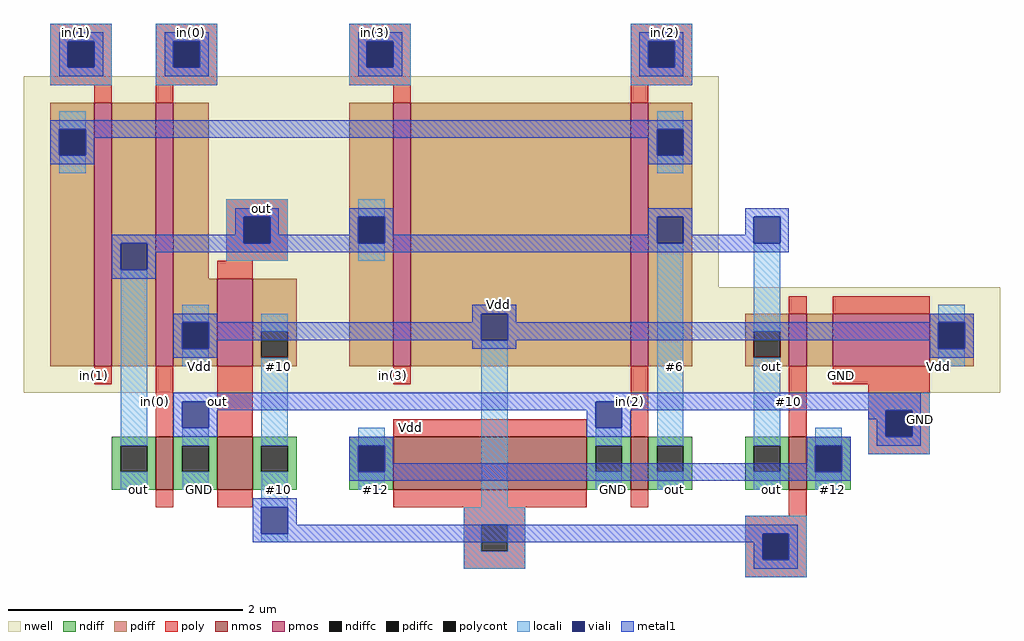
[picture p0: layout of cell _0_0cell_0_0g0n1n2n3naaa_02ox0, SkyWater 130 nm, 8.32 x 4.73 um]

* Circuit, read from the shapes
.subckt _0_0cell_0_0g0n1n2n3naaa_02ox0 GND Vdd in(3) in(2) in(1) out in(0)
XM1 GND in(0) out VSUBS sky130_fd_pr__nfet_01v8 w=0.45 l=0.15
XM2 #10 out GND VSUBS sky130_fd_pr__nfet_01v8 w=0.45 l=0.3
XM3 GND Vdd #12 VSUBS sky130_fd_pr__nfet_01v8 w=0.45 l=1.65
XM4 out in(2) GND VSUBS sky130_fd_pr__nfet_01v8 w=0.45 l=0.15
XM5 #12 #10 out VSUBS sky130_fd_pr__nfet_01v8 w=0.45 l=0.15
XM6 n1 in(1) #6 n2 sky130_fd_pr__pfet_01v8 w=2.25 l=0.15
XM7 Vdd in(0) n1 n2 sky130_fd_pr__pfet_01v8 w=2.25 l=0.15
XM8 #10 out Vdd n2 sky130_fd_pr__pfet_01v8 w=0.75 l=0.3
XM9 n3 in(3) out n2 sky130_fd_pr__pfet_01v8 w=2.25 l=0.15
XM10 #6 in(2) n3 n2 sky130_fd_pr__pfet_01v8 w=2.25 l=0.15
XM11 n4 #10 out n2 sky130_fd_pr__pfet_01v8 w=0.45 l=0.15
XM12 Vdd GND n4 n2 sky130_fd_pr__pfet_01v8 w=0.45 l=0.825
.ends

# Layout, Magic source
magic
tech sky130A
magscale 1 2
<< nwell >>
rect 75 435 1260 795
rect 75 255 1740 435
<< nmos >>
rect 300 90 330 180
rect 405 90 465 180
rect 705 90 1035 180
rect 1110 90 1140 180
rect 1380 90 1410 180
<< pmos >>
rect 195 300 225 750
rect 300 300 330 750
rect 405 300 465 450
rect 705 300 735 750
rect 1110 300 1140 750
rect 1380 300 1410 390
rect 1455 300 1620 390
<< ndiff >>
rect 225 165 300 180
rect 225 120 240 165
rect 285 120 300 165
rect 225 90 300 120
rect 330 165 405 180
rect 330 120 345 165
rect 390 120 405 165
rect 330 90 405 120
rect 465 165 540 180
rect 465 120 480 165
rect 525 120 540 165
rect 465 90 540 120
rect 630 165 705 180
rect 630 120 645 165
rect 690 120 705 165
rect 630 90 705 120
rect 1035 165 1110 180
rect 1035 120 1050 165
rect 1095 120 1110 165
rect 1035 90 1110 120
rect 1140 165 1215 180
rect 1140 120 1155 165
rect 1200 120 1215 165
rect 1140 90 1215 120
rect 1305 165 1380 180
rect 1305 120 1320 165
rect 1365 120 1380 165
rect 1305 90 1380 120
rect 1410 165 1485 180
rect 1410 120 1425 165
rect 1470 120 1485 165
rect 1410 90 1485 120
<< pdiff >>
rect 120 705 195 750
rect 120 660 135 705
rect 180 660 195 705
rect 120 300 195 660
rect 225 300 300 750
rect 330 450 390 750
rect 630 555 705 750
rect 630 510 645 555
rect 690 510 705 555
rect 330 375 405 450
rect 330 330 345 375
rect 390 330 405 375
rect 330 300 405 330
rect 465 360 540 450
rect 465 315 480 360
rect 525 315 540 360
rect 465 300 540 315
rect 630 300 705 510
rect 735 300 1110 750
rect 1140 705 1215 750
rect 1140 660 1155 705
rect 1200 660 1215 705
rect 1140 300 1215 660
rect 1305 360 1380 390
rect 1305 315 1320 360
rect 1365 315 1380 360
rect 1305 300 1380 315
rect 1410 300 1455 390
rect 1620 375 1695 390
rect 1620 330 1635 375
rect 1680 330 1695 375
rect 1620 300 1695 330
<< ndiffc >>
rect 240 120 285 165
rect 345 120 390 165
rect 480 120 525 165
rect 645 120 690 165
rect 1050 120 1095 165
rect 1155 120 1200 165
rect 1320 120 1365 165
rect 1425 120 1470 165
<< pdiffc >>
rect 135 660 180 705
rect 645 510 690 555
rect 345 330 390 375
rect 480 315 525 360
rect 1155 660 1200 705
rect 1320 315 1365 360
rect 1635 330 1680 375
<< poly >>
rect 120 855 225 885
rect 120 810 150 855
rect 195 810 225 855
rect 120 780 225 810
rect 195 750 225 780
rect 300 855 405 885
rect 300 810 330 855
rect 375 810 405 855
rect 300 780 405 810
rect 630 855 735 885
rect 630 810 660 855
rect 705 810 735 855
rect 630 780 735 810
rect 300 750 330 780
rect 705 750 735 780
rect 1110 855 1215 885
rect 1110 810 1140 855
rect 1185 810 1215 855
rect 1110 780 1215 810
rect 1110 750 1140 780
rect 420 555 525 585
rect 420 510 450 555
rect 495 510 525 555
rect 420 480 525 510
rect 405 450 465 480
rect 1380 390 1410 420
rect 1455 390 1620 420
rect 195 270 225 300
rect 300 180 330 300
rect 405 180 465 300
rect 705 270 735 300
rect 705 180 1035 210
rect 1110 180 1140 300
rect 1380 180 1410 300
rect 1455 270 1620 300
rect 1515 225 1620 270
rect 1515 180 1545 225
rect 1590 180 1620 225
rect 1515 150 1620 180
rect 300 60 330 90
rect 405 60 465 90
rect 705 60 1035 90
rect 1110 60 1140 90
rect 825 30 930 60
rect 1380 45 1410 90
rect 825 -15 855 30
rect 900 -15 930 30
rect 825 -45 930 -15
rect 1305 15 1410 45
rect 1305 -30 1335 15
rect 1380 -30 1410 15
rect 1305 -60 1410 -30
<< polycont >>
rect 150 810 195 855
rect 330 810 375 855
rect 660 810 705 855
rect 1140 810 1185 855
rect 450 510 495 555
rect 1545 180 1590 225
rect 855 -15 900 30
rect 1335 -30 1380 15
<< locali >>
rect 120 855 225 885
rect 120 810 150 855
rect 195 810 225 855
rect 120 780 225 810
rect 300 855 405 885
rect 300 810 330 855
rect 375 810 405 855
rect 300 780 405 810
rect 630 855 735 885
rect 630 810 660 855
rect 705 810 735 855
rect 630 780 735 810
rect 1110 855 1215 885
rect 1110 810 1140 855
rect 1185 810 1215 855
rect 1110 780 1215 810
rect 135 705 180 735
rect 135 630 180 660
rect 1155 705 1200 735
rect 1155 630 1200 660
rect 420 555 525 585
rect 420 510 450 555
rect 495 510 525 555
rect 420 480 525 510
rect 645 555 690 585
rect 645 480 690 510
rect 240 165 285 465
rect 345 375 390 405
rect 345 300 390 330
rect 480 360 525 390
rect 240 90 285 120
rect 345 165 390 195
rect 345 90 390 120
rect 480 165 525 315
rect 480 60 525 120
rect 645 165 690 195
rect 645 90 690 120
rect 855 60 900 345
rect 1050 165 1095 195
rect 1050 90 1095 120
rect 1155 165 1200 510
rect 1155 90 1200 120
rect 1320 360 1365 510
rect 1320 165 1365 315
rect 1635 375 1680 405
rect 1635 300 1680 330
rect 1515 225 1620 255
rect 1320 90 1365 120
rect 1425 165 1470 195
rect 1515 180 1545 225
rect 1590 180 1620 225
rect 1515 150 1620 180
rect 1425 90 1470 120
rect 480 0 525 15
rect 825 30 930 60
rect 825 -15 855 30
rect 900 -15 930 30
rect 825 -45 930 -15
rect 1305 15 1410 45
rect 1305 -30 1335 15
rect 1380 -30 1410 15
rect 1305 -60 1410 -30
<< viali >>
rect 150 810 195 855
rect 330 810 375 855
rect 660 810 705 855
rect 1140 810 1185 855
rect 135 660 180 705
rect 1155 660 1200 705
rect 450 510 495 555
rect 240 465 285 510
rect 645 510 690 555
rect 1155 510 1200 555
rect 345 330 390 375
rect 345 195 390 240
rect 855 345 900 390
rect 645 120 690 165
rect 1050 195 1095 240
rect 1320 510 1365 555
rect 1635 330 1680 375
rect 1425 120 1470 165
rect 1545 180 1590 225
rect 480 15 525 60
rect 1335 -30 1380 15
<< metal1 >>
rect 135 855 210 870
rect 135 810 150 855
rect 195 810 210 855
rect 135 795 210 810
rect 315 855 390 870
rect 315 810 330 855
rect 375 810 390 855
rect 315 795 390 810
rect 645 855 720 870
rect 645 810 660 855
rect 705 810 720 855
rect 645 795 720 810
rect 1125 855 1200 870
rect 1125 810 1140 855
rect 1185 810 1200 855
rect 1125 795 1200 810
rect 120 705 1215 720
rect 120 660 135 705
rect 180 690 1155 705
rect 180 660 195 690
rect 120 645 195 660
rect 1140 660 1155 690
rect 1200 660 1215 705
rect 1140 645 1215 660
rect 435 555 510 570
rect 435 525 450 555
rect 225 510 450 525
rect 495 525 510 555
rect 630 555 705 570
rect 630 525 645 555
rect 495 510 645 525
rect 690 525 705 555
rect 1140 555 1215 570
rect 1140 525 1155 555
rect 690 510 1155 525
rect 1200 525 1215 555
rect 1305 555 1380 570
rect 1305 525 1320 555
rect 1200 510 1320 525
rect 1365 510 1380 555
rect 225 465 240 510
rect 285 495 1380 510
rect 285 465 300 495
rect 225 450 300 465
rect 840 390 915 405
rect 330 375 405 390
rect 840 375 855 390
rect 330 330 345 375
rect 390 345 855 375
rect 900 375 915 390
rect 1620 375 1695 390
rect 900 345 1635 375
rect 390 330 405 345
rect 840 330 915 345
rect 1620 330 1635 345
rect 1680 330 1695 375
rect 330 315 405 330
rect 1620 315 1695 330
rect 330 240 1605 255
rect 330 195 345 240
rect 390 225 1050 240
rect 390 195 405 225
rect 330 180 405 195
rect 1035 195 1050 225
rect 1095 225 1605 240
rect 1095 195 1110 225
rect 1515 210 1545 225
rect 1035 180 1110 195
rect 1530 180 1545 210
rect 1590 180 1605 225
rect 630 165 705 180
rect 630 120 645 165
rect 690 135 705 165
rect 1410 165 1485 180
rect 1530 165 1605 180
rect 1410 135 1425 165
rect 690 120 1425 135
rect 1470 120 1485 165
rect 630 105 1485 120
rect 465 60 540 75
rect 465 15 480 60
rect 525 30 540 60
rect 525 15 1395 30
rect 465 0 1335 15
rect 1320 -30 1335 0
rect 1380 -30 1395 15
rect 1320 -45 1395 -30
<< labels >>
flabel poly 1380 240 1380 240 3 FreeSerif 120 0 0 0 #10
flabel poly 1470 285 1470 285 3 FreeSerif 120 0 0 0 GND
flabel pdiff 1635 300 1635 300 1 FreeSerif 120 0 0 0 Vdd
flabel ndiff 1455 90 1455 90 1 FreeSerif 120 0 0 0 #12
flabel ndiff 1350 90 1350 90 1 FreeSerif 120 0 0 0 out
flabel ndiff 1185 90 1185 90 1 FreeSerif 120 0 0 0 out
flabel ndiff 1080 90 1080 90 1 FreeSerif 120 0 0 0 GND
flabel poly 735 195 735 195 1 FreeSerif 120 0 0 0 Vdd
flabel ndiff 675 90 675 90 1 FreeSerif 120 0 0 0 #12
flabel ndiff 510 90 510 90 1 FreeSerif 120 0 0 0 #10
flabel ndiff 375 90 375 90 1 FreeSerif 120 0 0 0 GND
flabel ndiff 270 90 270 90 1 FreeSerif 120 0 0 0 out
flabel poly 195 285 195 285 3 FreeSerif 120 0 0 0 in(1)
flabel poly 300 240 300 240 3 FreeSerif 120 0 0 0 in(0)
flabel poly 405 240 405 240 3 FreeSerif 120 0 0 0 out
flabel poly 705 285 705 285 3 FreeSerif 120 0 0 0 in(3)
flabel pdiff 675 300 675 300 1 FreeSerif 120 0 0 0 out
flabel pdiff 375 300 375 300 1 FreeSerif 120 0 0 0 Vdd
flabel pdiff 165 300 165 300 1 FreeSerif 120 0 0 0 #6
flabel pdiff 510 300 510 300 1 FreeSerif 120 0 0 0 #10
flabel pdiff 1185 300 1185 300 1 FreeSerif 120 0 0 0 #6
flabel pdiff 1350 300 1350 300 1 FreeSerif 120 0 0 0 out
flabel poly 1110 240 1110 240 3 FreeSerif 120 0 0 0 in(2)
flabel metal1 1605 210 1605 210 3 FreeSerif 120 0 0 0 GND
port 1 e
flabel metal1 885 405 885 405 1 FreeSerif 120 0 0 0 Vdd
port 2 n
flabel metal1 675 870 675 870 1 FreeSerif 120 0 0 0 in(3)
port 3 n
flabel metal1 1170 870 1170 870 1 FreeSerif 120 0 0 0 in(2)
port 4 n
flabel metal1 165 870 165 870 1 FreeSerif 120 0 0 0 in(1)
port 5 n
flabel metal1 480 570 480 570 1 FreeSerif 120 0 0 0 out
port 6 n
flabel metal1 360 870 360 870 1 FreeSerif 120 0 0 0 in(0)
port 7 n
<< end >>
